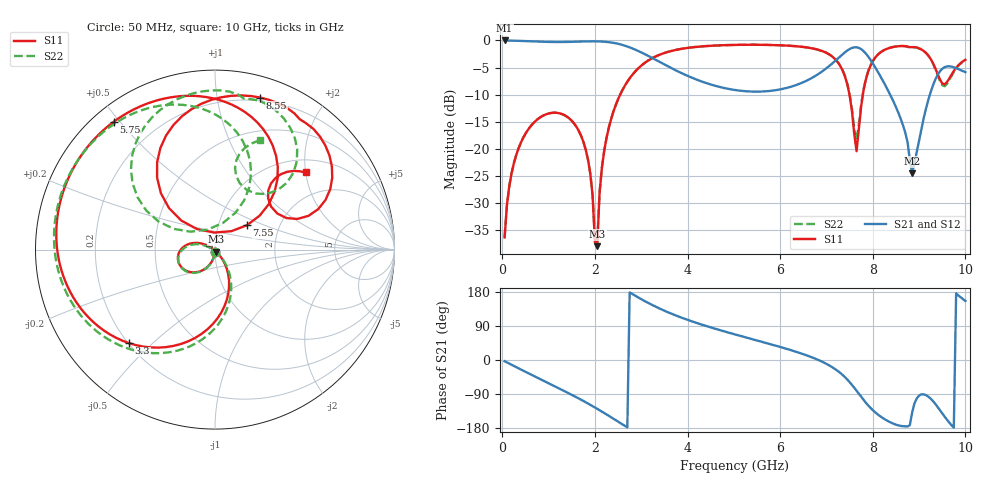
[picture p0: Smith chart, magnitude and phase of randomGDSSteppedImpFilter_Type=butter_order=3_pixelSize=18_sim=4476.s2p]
! freq	dB(S11)	phase(S11)	dB(S12)	phase(S12)
!  dB(S21)	phase(S21)	dB(S22)	phase(S22)
!S-par simulation data
#  GHz  S  DB  R 50
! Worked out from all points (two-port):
!   200 points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, 50 MHz to 10 GHz, reference 50 ohm
!   highest |S21| = -0.01 dB at 50 MHz (marker M1); lowest = -24.5 dB at 8.85 GHz (marker M2)
!   |S21| within 3 dB of the highest: start of sweep to 3.185 GHz; 7.289 GHz to 7.904 GHz (614.9 MHz wide, 8.09 % of centre)
!   lowest |S11| = -38.0 dB at 2.05 GHz (marker M3), VSWR 1.03, Z = 50.6 - j1.12 ohm
!   |S11| at or under -10 dB: start of sweep to 2.546 GHz; 7.497 GHz to 7.787 GHz (289.8 MHz wide, 3.79 % of centre)
!   |S22| runs from -37.1 to -0.8 dB; largest |S21 - S12| = 0
!   S11 on the Smith chart (normalised r, x): 50 MHz: 1.00, -0.03; 3.3 GHz: 0.20, -0.42; 5.75 GHz: 0.06, +0.48; 7.55 GHz: 1.37, +0.39; 8.55 GHz: 0.17, +1.33; 10 GHz: 1.30, +2.00
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0.05  -36.38 -92.8  -0.01 -3.2  -0.01 -3.2  -36.38 -92.7
0.25  -22.67 -106.1  -0.05 -15.7  -0.05 -15.7  -22.67 -105.6
0.6  -15.97 -128.2  -0.16 -37.3  -0.16 -37.3  -15.97 -127.1
1.75  -18.70 161.1  -0.20 -108.0  -0.20 -108.0  -18.70 165.2
2.05  -37.98 -60.9  -0.17 -128.8  -0.17 -128.8  -37.07 -68.3
2.15  -23.56 -52.5  -0.21 -136.1  -0.21 -136.1  -23.50 -51.3
2.35  -14.51 -65.5  -0.38 -151.2  -0.38 -151.2  -14.49 -62.4
3.3  -3.00 -132.5  -3.53 141.4  -3.53 141.4  -3.00 -126.8
3.4  -2.63 -138.4  -3.99 135.6  -3.99 135.6  -2.62 -132.4
5.05  -0.82 152.2  -9.19 66.7  -9.19 66.7  -0.82 162.5
5.75  -0.83 128.3  -9.35 43.1  -9.35 43.1  -0.83 140.8
6.7  -1.48 90.9  -6.86 6.4  -6.86 6.4  -1.47 106.9
7.3  -4.74 52.9  -2.92 -34.3  -2.92 -34.3  -4.70 72.1
7.55  -13.01 37.4  -1.39 -65.6  -1.39 -65.6  -12.61 61.0
7.65  -20.46 92.9  -1.27 -81.2  -1.27 -81.2  -18.49 110.5
7.9  -5.76 128.8  -2.96 -119.7  -2.96 -119.7  -5.70 146.1
8.35  -1.42 87.6  -9.58 -162.7  -9.58 -162.7  -1.41 107.9
8.55  -1.07 73.5  -13.30 -172.5  -13.30 -172.5  -1.07 94.6
8.85  -1.23 54.3  -24.50 -138.9  -24.50 -138.9  -1.30 77.1
9.4  -6.20 20.4  -6.37 -123.7  -6.37 -123.7  -6.37 43.5
9.65  -7.06 48.0  -4.77 -164.9  -4.77 -164.9  -7.35 74.2
10  -3.57 40.4  -5.85 155.9  -5.85 155.9  -3.62 67.5
